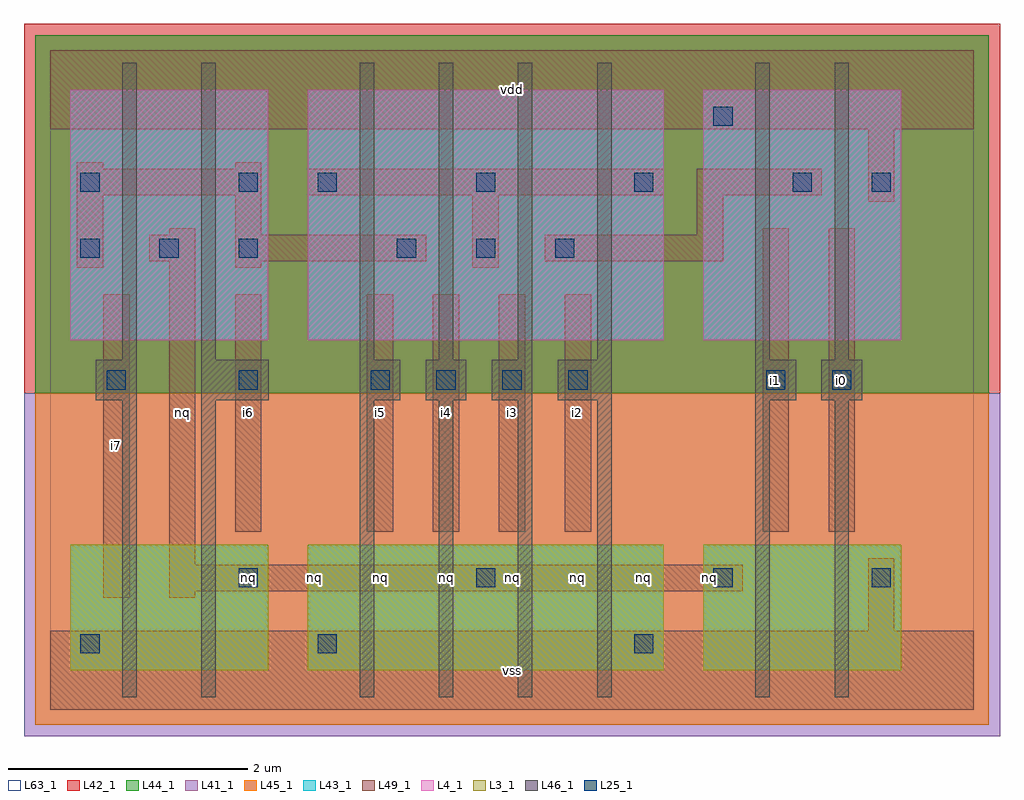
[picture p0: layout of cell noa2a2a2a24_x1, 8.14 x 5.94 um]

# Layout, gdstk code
import gdstk
lib = gdstk.Library(unit=1e-6, precision=1e-09)
def R(c, l, rs):  # rectangles x0, y0, x1, y1
    for r in rs: c.add(gdstk.rectangle(r[:2], r[2:], *l))
def A(c, l, x, y, w, h, nx, ny, dx, dy):  # array of equal rectangles
    R(c, l, [(x+i*dx, y+j*dy, x+i*dx+w, y+j*dy+h) for i in range(nx) for j in range(ny)])
L3_1 = (3, 1)
L4_1 = (4, 1)
L25_1 = (25, 1)
L41_1 = (41, 1)
L42_1 = (42, 1)
L43_1 = (43, 1)
L44_1 = (44, 1)
L45_1 = (45, 1)
L46_1 = (46, 1)
L49_1 = (49, 1)
L63_1 = (63, 1)

noa2a2a2a24_x1 = lib.new_cell('noa2a2a2a24_x1')
R(noa2a2a2a24_x1, L3_1, [(0.165,0.33,1.815,1.375), (2.145,0.33,5.115,1.375), (5.445,0.33,7.095,1.375)])
R(noa2a2a2a24_x1, L4_1, [(0.165,3.08,1.815,5.17), (2.145,3.08,5.115,5.17), (5.445,3.08,7.095,5.17)])
A(noa2a2a2a24_x1, L25_1, 1.57, 1.02, 0.16, 0.16, 3, 1, 1.98, 0)
A(noa2a2a2a24_x1, L25_1, 0.47, 2.67, 0.16, 0.16, 3, 1, 1.1, 0)
A(noa2a2a2a24_x1, L25_1, 3.22, 2.67, 0.16, 0.16, 3, 1, 0.55, 0)
A(noa2a2a2a24_x1, L25_1, 0.25, 3.77, 0.16, 0.16, 3, 1, 0.66, 0)
A(noa2a2a2a24_x1, L25_1, 2.89, 3.77, 0.16, 0.16, 3, 1, 0.66, 0)
A(noa2a2a2a24_x1, L25_1, 2.23, 4.32, 0.16, 0.16, 4, 1, 1.32, 0)
R(noa2a2a2a24_x1, L25_1, [(0.25,0.47,0.41,0.63), (2.23,0.47,2.39,0.63), (4.87,0.47,5.03,0.63), (6.85,1.02,7.01,1.18), (5.97,2.67,6.13,2.83), (6.52,2.67,6.68,2.83), (0.25,4.32,0.41,4.48), (1.57,4.32,1.73,4.48), (6.85,4.32,7.01,4.48), (5.53,4.87,5.69,5.03)])
R(noa2a2a2a24_x1, L41_1, [(-0.22,-0.22,7.92,2.64)])
R(noa2a2a2a24_x1, L42_1, [(-0.22,2.64,7.92,5.72)])
R(noa2a2a2a24_x1, L43_1, [(0.165,0.33,1.815,1.375), (2.145,0.33,5.115,1.375), (5.445,0.33,7.095,1.375), (0.165,3.08,1.815,5.17), (2.145,3.08,5.115,5.17), (5.445,3.08,7.095,5.17)])
R(noa2a2a2a24_x1, L44_1, [(-0.125,2.64,7.825,5.625)])
R(noa2a2a2a24_x1, L45_1, [(-0.125,-0.125,7.825,2.64)])
A(noa2a2a2a24_x1, L46_1, 2.58, 0.105, 0.12, 2.475, 4, 2, 0.66, 2.815)
A(noa2a2a2a24_x1, L46_1, 2.58, 2.58, 0.34, 0.34, 3, 1, 0.55, 0)
R(noa2a2a2a24_x1, L46_1, [(0.6,0.105,0.72,2.58), (1.26,0.105,1.38,2.58), (5.88,0.105,6,2.58), (6.54,0.105,6.66,2.58), (0.38,2.58,0.72,2.92), (1.26,2.58,1.82,2.92), (4.23,2.58,4.68,2.92), (5.88,2.58,6.22,2.92), (6.43,2.58,6.77,2.92), (0.6,2.92,0.72,5.395), (1.26,2.92,1.38,5.395), (5.88,2.92,6,5.395), (6.54,2.92,6.66,5.395)])
A(noa2a2a2a24_x1, L49_1, 2.64, 1.485, 0.22, 1.98, 4, 1, 0.55, 0)
R(noa2a2a2a24_x1, L49_1, [(0,0,7.7,0.66), (6.82,0.66,7.04,1.265), (0.44,0.935,0.66,3.465), (0.99,0.935,1.21,0.99), (0.99,0.99,5.775,1.21), (0.99,1.21,1.21,3.74), (1.54,1.485,1.76,3.465), (5.94,1.485,6.16,4.015), (6.49,1.485,6.71,4.015), (0.22,3.685,0.44,4.29), (1.54,3.685,1.76,3.74), (3.52,3.685,3.74,4.29), (0.825,3.74,1.21,3.96), (1.54,3.74,3.135,3.96), (4.125,3.74,5.61,3.96), (0.99,3.96,1.21,4.015), (1.54,3.96,1.76,4.29), (5.39,3.96,5.61,4.29), (6.82,4.235,7.04,4.84), (0.22,4.29,1.76,4.51), (2.145,4.29,5.115,4.51), (5.39,4.29,6.435,4.51), (0.22,4.51,0.44,4.565), (1.54,4.51,1.76,4.565), (0,4.84,7.7,5.5)])
R(noa2a2a2a24_x1, L63_1, [(0,0,7.7,5.5)])
noa2a2a2a24_x1.add(gdstk.Label('i7', (0.55,2.2), layer=49, texttype=1))
noa2a2a2a24_x1.add(gdstk.Label('nq', (1.1,2.475), layer=49, texttype=1))
noa2a2a2a24_x1.add(gdstk.Label('nq', (2.2,1.1), layer=49, texttype=1))
noa2a2a2a24_x1.add(gdstk.Label('nq', (2.75,1.1), layer=49, texttype=1))
noa2a2a2a24_x1.add(gdstk.Label('nq', (1.65,1.1), layer=49, texttype=1))
noa2a2a2a24_x1.add(gdstk.Label('i6', (1.65,2.475), layer=49, texttype=1))
noa2a2a2a24_x1.add(gdstk.Label('i5', (2.75,2.475), layer=49, texttype=1))
noa2a2a2a24_x1.add(gdstk.Label('vss', (3.85,0.33), layer=49, texttype=1))
noa2a2a2a24_x1.add(gdstk.Label('nq', (3.3,1.1), layer=49, texttype=1))
noa2a2a2a24_x1.add(gdstk.Label('nq', (3.85,1.1), layer=49, texttype=1))
noa2a2a2a24_x1.add(gdstk.Label('nq', (4.4,1.1), layer=49, texttype=1))
noa2a2a2a24_x1.add(gdstk.Label('i2', (4.4,2.475), layer=49, texttype=1))
noa2a2a2a24_x1.add(gdstk.Label('i3', (3.85,2.475), layer=49, texttype=1))
noa2a2a2a24_x1.add(gdstk.Label('i4', (3.3,2.475), layer=49, texttype=1))
noa2a2a2a24_x1.add(gdstk.Label('vdd', (3.85,5.17), layer=49, texttype=1))
noa2a2a2a24_x1.add(gdstk.Label('nq', (4.95,1.1), layer=49, texttype=1))
noa2a2a2a24_x1.add(gdstk.Label('nq', (5.5,1.1), layer=49, texttype=1))
noa2a2a2a24_x1.add(gdstk.Label('i1', (6.05,2.75), layer=49, texttype=1))
noa2a2a2a24_x1.add(gdstk.Label('i0', (6.6,2.75), layer=49, texttype=1))

lib.write_gds('noa2a2a2a24_x1.gds')
